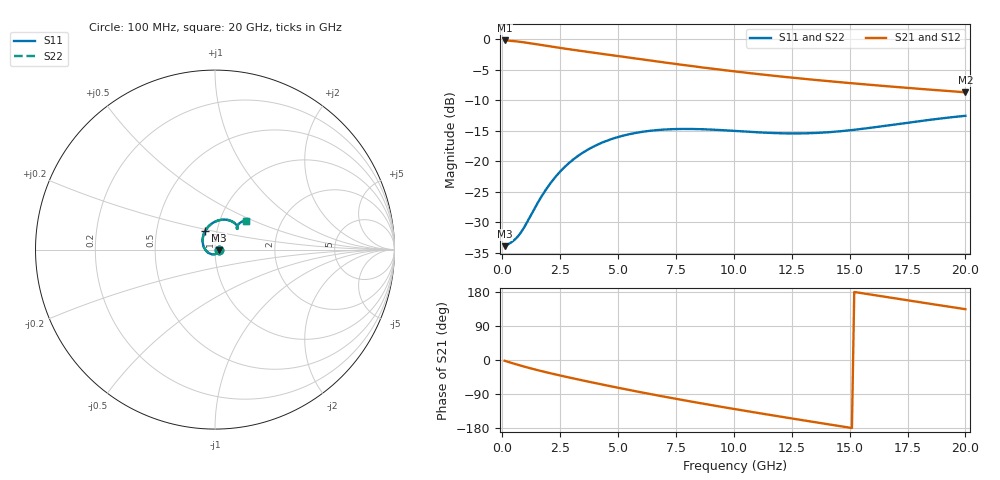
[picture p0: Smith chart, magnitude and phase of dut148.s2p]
! Touchstone file exported from HFSS 2023.1.0
!  File:  D:/Users/fzz/RDL_TSV/temp_RDL_TSV_148_1778752662.aedt
!  Generated:  6:06:26 %x4E0B%x5348  5%x6708 14, 2026
!  Design:  RDL_TSV
!  Project:  temp_RDL_TSV_148_1778752662
!  Setup:  Setup1
!  Solution:  Sweep
! Variables:
!  dtsv = 17.82um
!  hbump = 3um
!  htsv = 63.77um
!  ldown = 658.56um
!  lrdl = 252.75um
!  p = 40
!  p1 = 40.49um
!  rhole = 10um
!  subl = 2986.68um
!  t = 450um
!  tdown = 2.16um
!  trdl = 4.8um
!  viad = 10um
!  wdown = 20.26um
!  wrdl = 17.92um
!  xbump = 18um
# GHz S MA R 50.000000
! Terminal data exported
! Port[1] = TM1_1_T1
! Port[2] = TM1_4_T1
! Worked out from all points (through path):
!   200 points, 100 MHz to 20 GHz, reference 50 ohm
!   highest |S21| = -0.18 dB at 100 MHz (marker M1); lowest = -8.7 dB at 20 GHz (marker M2)
!   group delay of S21, straight-line fit = 30 ps
!   lowest |S11| = -33.9 dB at 100 MHz (marker M3), VSWR 1.04, Z = 52 - j0.397 ohm
!   |S11| at or under -10 dB: start of sweep to end of sweep
!   |S22| runs from -33.9 to -12.6 dB; largest |S21 - S12| = 1.8e-14
!   S11 on the Smith chart (normalised r, x): 100 MHz: 1.04, -0.01; 3.5 GHz: 0.88, +0.19; 20 GHz: 1.33, +0.45
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0.1  0.02011 -10.9  0.9793 -2.0  0.9793 -2.0  0.02011 -10.9
! Gamma 0 0 0 0
! Port Impedance 50 0 50 0
0.5  0.02244 -60.2  0.9673 -9.5  0.9673 -9.5  0.02246 -60.2
0.7  0.02454 -85.4  0.958 -13.1  0.958 -13.1  0.02457 -85.4
1  0.02993 -119.7  0.9414 -18.3  0.9414 -18.3  0.02995 -119.6
1.6  0.04801 -169.5  0.9041 -27.9  0.9041 -27.9  0.04798 -169.3
2  0.06296 168.0  0.8794 -33.9  0.8794 -33.9  0.06288 168.2
2.5  0.08235 146.9  0.8504 -40.9  0.8504 -40.9  0.0822 147.0
3  0.1011 130.5  0.8236 -47.7  0.8236 -47.7  0.1009 130.6
3.5  0.1183 117.2  0.7984 -54.3  0.7984 -54.3  0.1181 117.2
4.2  0.1392 102.0  0.7651 -63.3  0.7651 -63.3  0.1389 102.0
5  0.158 88.0  0.7291 -73.3  0.7291 -73.3  0.1575 88.1
5.9  0.1726 75.4  0.6905 -84.1  0.6905 -84.1  0.172 75.4
6.8  0.1809 65.3  0.6543 -94.6  0.6543 -94.6  0.1803 65.3
8.4  0.1837 52.3  0.5962 -112.3  0.5962 -112.3  0.1829 52.4
9.2  0.1812 48.0  0.5704 -120.8  0.5704 -120.8  0.1805 48.1
10.1  0.1771 44.8  0.544 -130.2  0.544 -130.2  0.1763 44.8
11.7  0.1704 42.8  0.5032 -146.3  0.5032 -146.3  0.1697 42.8
13.4  0.1702 44.3  0.467 -163.1  0.467 -163.1  0.1695 44.3
15  0.1794 46.4  0.438 -178.6  0.438 -178.6  0.1788 46.5
16.7  0.1972 47.2  0.4113 165.2  0.4113 165.2  0.1965 47.3
18.4  0.218 45.6  0.3877 149.1  0.3877 149.1  0.2173 45.7
20  0.236 42.6  0.3679 134.1  0.3679 134.1  0.2354 42.7
